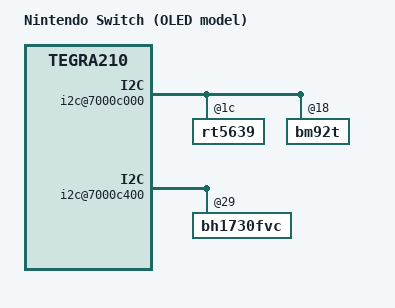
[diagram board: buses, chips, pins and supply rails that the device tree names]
/*
 * Copyright (c) 2022, CTCaer <ctcaer@gmail.com>
 *
 * This program is free software; you can redistribute it and/or modify
 * it under the terms of the GNU General Public License as published by
 * the Free Software Foundation; version 2 of the License.
 *
 * This program is distributed in the hope that it will be useful, but WITHOUT
 * ANY WARRANTY; without even the implied warranty of MERCHANTABILITY or
 * FITNESS FOR A PARTICULAR PURPOSE.  See the GNU General Public License for
 * more details.
 *
 */

#include "nx-platforms/tegra210b01-nx-common.dtsi"
#include "nx-platforms/tegra210b01-frig-gpio.dtsi"
#include "nx-platforms/tegra210b01-frig-pinmux.dtsi"
#include "nx-platforms/tegra210-nx-common-disp.dtsi"
#include "nx-platforms/tegra210b01-frig-power-tree.dtsi"
#include "nx-platforms/tegra210-nx-sensor.dtsi"

/ {
	nvidia,dtsfilename = __FILE__;
	nvidia,dtbbuildtime = __DATE__, __TIME__;

	model = "Nintendo Switch (OLED model)";
	compatible = "nvidia,frig", "nintendo,aula", "nintendo,nx", "nvidia,tegra210b01";

	tlk {
		status = "disabled"; /* Only enable if TOS/NVDECBL/TSEC/EKS are setup */
	};

	cpus {
		idle-states {
			c7 {
				status = "disabled"; // FIXME: enabling causes crashes on cpu idle
			};
		};
	};

	r2p {
		compatible = "tegra-r2p";
		status = "okay";
	};

	backlight {
		status = "disabled";
		panel-o-720p-6-0-bl {
			status = "disabled";
		};
	};

	i2c@7000c000 {
		rt5639: rt5639@1c {
			realtek,eq-config-type = <2>;
		};
		bm92t: bm92t@18 {
			rohm,dp-lanes = <4>;
		};
	};

	host1x {
		dsi {
			nvidia,active-panel = <&panel_s_720p_7_0>;
			prod-settings {
				#prod-cells = <3>;
				dsi-padctrl-prod {
					prod = <
						0x00000148 0x000fffff 0x00077777	/* PAD_CONTROL_4 */
						0x0000014c 0x000fffff 0x00077777	/* PAD_CONTROL_5 */
						0x00000150 0x00003333 0x00001111	/* PAD_CONTROL_6 */
						>;
				};
			};
		};
		sor1 {
			dp-display {
				nvidia,lanes = <4>;

				lt-data {
					tegra-dp-vs-regs {
						/* postcursor2 L0 */
						pc2_l0 = <
							/* pre-emphasis: L0, L1, L2, L3 */
							0x13 0x19 0x1e 0x28 /* voltage swing: L0 */
							0x1e 0x25 0x2d /* L1 */
							0x28 0x32 /* L2 */
							0x39 /* L3 */
						>;
						/* postcursor2 L1 */
						pc2_l1 = <
							0x12 0x17 0x1b 0x25
							0x1c 0x23 0x2a
							0x25 0x2f
							0x37
						>;
						/* postcursor2 L2 */
						pc2_l2 = <
							0x12 0x16 0x1a 0x22
							0x1b 0x20 0x27
							0x24 0x2d
							0x35
						>;
					};
				};
			};
		};
	};

	i2c@7000c400 {
		bh1730fvc@29 {
			rohm,opt-win-coeff = < 231 9697 7502
					       993 3333 2778
					      1478 1621 1053
					      7500   81   10>;

			rohm,gain-coeff = < 2500     0
					    1600  7800
					      10 50000
					       0  1000>;
		};
	};

	thermal_fan_est_shared_data: tfesd {
		dev1 {
			/* Frig SoC Console */
			coeffs_mode0 = <7831 57590>;

			/* Frig SoC Handheld */
			coeffs_mode1 = <9029 4274>;
		};

		dev2 {
			/* Frig PCB Console */
			coeffs_mode0 = <8051 0xFFFF4F63>;

			/* Frig PCB Handheld */
			coeffs_mode1 = <7176 0xFFFF7B5E>;
		};
	};

	thermal-fan-est {
		profiles {
			Console {
				active_trip_temps = <
					0 36000 40000 43000 49000 53000
					70000 80000 90000 100000>; /* Unused */
				active_hysteresis = <0 0 3900 2900 0 0 0 0 0 0>;
			};
			Handheld {
				active_trip_temps = <
					0 36000 40000 43000 44000 45000 46500
					80000 90000 100000>; /* Unused */
				active_hysteresis = <0 0 3900 2900 0 0 1000 0 0 0>;
			};
			/* Uses Handheld tskin coeffs and Console fan duties */
			Cool {
				active_trip_temps = <
					0 30000 36000 40000 43000 49000
					70000 80000 90000 100000>; /* Unused */
				active_hysteresis = <0 0 0 0 0 0 0 0 0 0>;
			};
		};
	};

	pwm-fan {
		profiles {
			Console {
				active_pwm = <0 0 51 51 128 255 255 255 255 255>;
			};
			Handheld {
				active_pwm = <0 0 51 51 76 128 255 255 255 255>;
			};
			Cool {
				active_pwm = <0 0 51 51 128 255 255 255 255 255>;
			};
		};
	};
};
